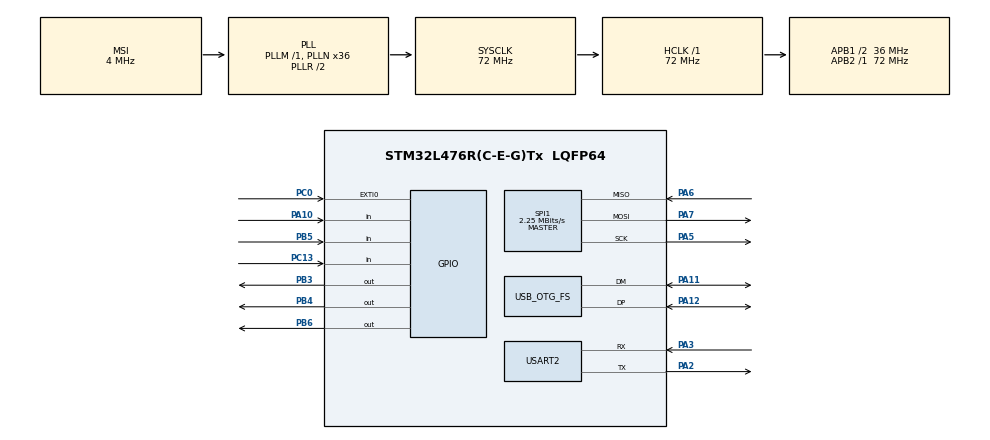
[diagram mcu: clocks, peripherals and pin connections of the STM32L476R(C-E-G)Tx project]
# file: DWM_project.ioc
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Mcu.Family=STM32L4
Mcu.Name=STM32L476R(C-E-G)Tx
Mcu.Package=LQFP64
NVIC.EXTI0_IRQn=true\:0\:0\:false
NVIC.PriorityGroup=NVIC_PRIORITYGROUP_4
PA10.Signal=GPIO_Input
PA11.Mode=Device_Only
PA11.Signal=USB_OTG_FS_DM
PA12.Mode=Device_Only
PA12.Signal=USB_OTG_FS_DP
PA2.Mode=Asynchronous
PA2.Signal=USART2_TX
PA3.Mode=Asynchronous
PA3.Signal=USART2_RX
PA5.Mode=Full_Duplex_Master
PA5.Signal=SPI1_SCK
PA6.GPIO_PuPd=GPIO_PULLUP
PA6.Mode=Full_Duplex_Master
PA6.Signal=SPI1_MISO
PA7.Mode=Full_Duplex_Master
PA7.Signal=SPI1_MOSI
PB3.Signal=GPIO_Output
PB4.Signal=GPIO_Output
PB5.Signal=GPIO_Input
PB6.GPIO_PuPd=GPIO_PULLUP
PB6.GPIO_Speed=GPIO_SPEED_HIGH
PB6.PinState=GPIO_PIN_SET
PB6.Signal=GPIO_Output
PC0.GPIO_PuPd=GPIO_PULLDOWN
PC0.Signal=GPXTI0
PC13.Signal=GPIO_Input
ProjectManager.HeapSize=0x400
ProjectManager.StackSize=0x200
ProjectManager.TargetToolchain=MDK-ARM V5
RCC.ADCFreq_Value=48000000
RCC.AHBFreq_Value=72000000
RCC.APB1CLKDivider=RCC_HCLK_DIV2
RCC.APB1Freq_Value=36000000
RCC.APB1TimFreq_Value=72000000
RCC.APB2Freq_Value=72000000
RCC.APB2TimFreq_Value=72000000
RCC.CortexFreq_Value=72000000
RCC.HCLKFreq_Value=72000000
RCC.HSE_VALUE=8000000
RCC.HSI_VALUE=16000000
RCC.LSE_VALUE=32768
RCC.MSI_VALUE=4000000
RCC.PLLN=36
RCC.PLLSAI1N=24
RCC.SYSCLKFreq_VALUE=72000000
RCC.SYSCLKSource=RCC_SYSCLKSOURCE_PLLCLK
RCC.USBFreq_Value=48000000
RCC.VCOOutputFreq_Value=144000000
SPI1.BaudRatePrescaler=SPI_BAUDRATEPRESCALER_32
SPI1.CLKPhase=SPI_PHASE_1EDGE
SPI1.CLKPolarity=SPI_POLARITY_LOW
SPI1.CRCCalculation=SPI_CRCCALCULATION_DISABLED
SPI1.CalculateBaudRate=2.25 MBits/s
SPI1.DataSize=SPI_DATASIZE_8BIT
SPI1.FirstBit=SPI_FIRSTBIT_MSB
SPI1.Mode=SPI_MODE_MASTER
SPI1.NSSPMode=SPI_NSS_PULSE_DISABLED
USART2.WordLength=UART_WORDLENGTH_8B
USB_OTG_FS.VirtualMode=Device_Only
board=DWM_project

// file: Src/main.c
/**
  ******************************************************************************
  * File Name          : main.c
  * Description        : Main program body
  ******************************************************************************
  *
  * COPYRIGHT(c) 2016 STMicroelectronics
  *
  * Redistribution and use in source and binary forms, with or without modification,
  * are permitted provided that the following conditions are met:
  *   1. Redistributions of source code must retain the above copyright notice,
  *      this list of conditions and the following disclaimer.
  *   2. Redistributions in binary form must reproduce the above copyright notice,
  *      this list of conditions and the following disclaimer in the documentation
  *      and/or other materials provided with the distribution.
  *   3. Neither the name of STMicroelectronics nor the names of its contributors
  *      may be used to endorse or promote products derived from this software
  *      without specific prior written permission.
  *
  * THIS SOFTWARE IS PROVIDED BY THE COPYRIGHT HOLDERS AND CONTRIBUTORS "AS IS"
  * AND ANY EXPRESS OR IMPLIED WARRANTIES, INCLUDING, BUT NOT LIMITED TO, THE
  * IMPLIED WARRANTIES OF MERCHANTABILITY AND FITNESS FOR A PARTICULAR PURPOSE ARE
  * DISCLAIMED. IN NO EVENT SHALL THE COPYRIGHT HOLDER OR CONTRIBUTORS BE LIABLE
  * FOR ANY DIRECT, INDIRECT, INCIDENTAL, SPECIAL, EXEMPLARY, OR CONSEQUENTIAL
  * DAMAGES (INCLUDING, BUT NOT LIMITED TO, PROCUREMENT OF SUBSTITUTE GOODS OR
  * SERVICES; LOSS OF USE, DATA, OR PROFITS; OR BUSINESS INTERRUPTION) HOWEVER
  * CAUSED AND ON ANY THEORY OF LIABILITY, WHETHER IN CONTRACT, STRICT LIABILITY,
  * OR TORT (INCLUDING NEGLIGENCE OR OTHERWISE) ARISING IN ANY WAY OUT OF THE USE
  * OF THIS SOFTWARE, EVEN IF ADVISED OF THE POSSIBILITY OF SUCH DAMAGE.
  *
  ******************************************************************************
  */
#include "stm32l4xx_hal.h"

/* USER CODE BEGIN Includes */
#include "deca_device_api.h"
#include "deca_regs.h"
#include "deca_com.h"
#include "usart_com.h"
#include "deca_spi.h"

#include <stdio.h>
#include <string.h>

/* USER CODE END Includes */

SPI_HandleTypeDef hspi1;

UART_HandleTypeDef huart2;

PCD_HandleTypeDef hpcd_USB_OTG_FS;

/* USER CODE BEGIN PV */
/* Private variables ---------------------------------------------------------*/

/* USER CODE END PV */

void SystemClock_Config(void);
static void MX_GPIO_Init(void);
static void MX_SPI1_Init(void);
static void MX_USART2_UART_Init(void);
static void MX_USB_OTG_FS_PCD_Init(void);

/* USER CODE BEGIN PFP */
/* Private function prototypes -----------------------------------------------*/

/* USER CODE END PFP */

/* USER CODE BEGIN 0 */

/* Inter-ranging delay period, in milliseconds. */
#define RNG_DELAY_MS 200

/* Default communication configuration. We use here EVK1000's default mode (mode 3). */
static dwt_config_t config =
	{ // working configuration
    2,               /* Channel number. */
    DWT_PRF_64M,     /* Pulse repetition frequency. */
    DWT_PLEN_1024,   /* Preamble length. Used in TX only. */
    DWT_PAC32,       /* Preamble acquisition chunk size. Used in RX only. */
    9,               /* TX preamble code. Used in TX only. */
    9,               /* RX preamble code. Used in RX only. */
    1,               /* 0 to use standard SFD, 1 to use non-standard SFD. */
    DWT_BR_110K,     /* Data rate. */
    DWT_PHRMODE_STD, /* PHY header mode. */
    (1025 + 64 - 32) /* SFD timeout (preamble length + 1 + SFD length - PAC size). Used in RX only. */
	};

/* Default antenna delay values for 64 MHz PRF. See NOTE 2 below. */
#define TX_ANT_DLY 16436
#define RX_ANT_DLY 16436

/* Frames used in the ranging process */
static uint8 tx_poll_msg[] = {0x41, 0x88, 0, 0xCA, 0xDE, 'W', 'A', 'V', 'E', 0x21, 0, 0};
static uint8 rx_resp_msg[] = {0x41, 0x88, 0, 0xCA, 0xDE, 'V', 'E', 'W', 'A', 0x10, 0x02, 0, 0, 0, 0};
static uint8 tx_final_msg[] = {0x41, 0x88, 0, 0xCA, 0xDE, 'W', 'A', 'V', 'E', 0x23, 0, 0, 0, 0, 0, 0, 0, 0, 0, 0, 0, 0, 0, 0};
static uint8 rx_final2_msg[] = {0x41, 0x88, 0, 0xCA, 0xDE, 'W', 'A', 'V', 'E', 0x23, 0, 0, 0, 0, 0, 0, 0, 0, 0, 0, 0, 0, 0, 0};

/* Frames used in the ranging process */
static uint8 rx_poll_msg[] = {0x41, 0x88, 0, 0xCA, 0xDE, 'W', 'A', 'V', 'E', 0x21, 0, 0};
static uint8 tx_resp_msg[] = {0x41, 0x88, 0, 0xCA, 0xDE, 'V', 'E', 'W', 'A', 0x10, 0x02, 0, 0, 0, 0};
static uint8 rx_final_msg[] = {0x41, 0x88, 0, 0xCA, 0xDE, 'W', 'A', 'V', 'E', 0x23, 0, 0, 0, 0, 0, 0, 0, 0, 0, 0, 0, 0, 0, 0};
static uint8 tx_final2_msg[] = {0x41, 0x88, 0, 0xCA, 0xDE, 'W', 'A', 'V', 'E', 0x23, 0, 0, 0, 0, 0, 0, 0, 0, 0, 0, 0, 0, 0, 0};

/* Length of the common part of the message (up to and including the function code, see NOTE 2 below). */
#define ALL_MSG_COMMON_LEN 10
/* Indexes to access some of the fields in the frames defined above. */
#define ALL_MSG_SN_IDX 2
#define FINAL_MSG_POLL_RX_TS_IDX 10
#define FINAL_MSG_RESP_TX_TS_IDX 14
#define FINAL_MSG_FINAL_RX_TS_IDX 18
#define FINAL_MSG_TS_LEN 4

/* Frame sequence number, incremented after each transmission. */
static uint8 c_FrameSeqNb = 0;

	/* DW module mode*/
uint32_t w_dwtMode = DECA_MODE_TAG;

	/* Buffer to store received response message.
 * Its size is adjusted to longest frame that this example code is supposed to handle. */

#if (w_dwtMode == DECA_MODE_ANCHOR)
	#define RX_BUF_LEN 20
#else
	#define RX_BUF_LEN 24
#endif

static uint8 rx_buffer[RX_BUF_LEN];

/* Hold copy of status register state here for reference so that it can be examined at a debug breakpoint. */
static uint32 status_reg = 0;

/* Preamble timeout, in multiple of PAC size. See NOTE 6 below. */
#define PRE_TIMEOUT 8

/* Timestamps of frames transmission/reception.
 * As they are 40-bit wide, we need to define a 64-bit int type to handle them. */
typedef signed long long int64;
typedef unsigned long long uint64;
static uint32 poll_rx_ts;
static uint32 resp_tx_ts;
static uint32 final_rx_ts;

/* Speed of light in air, in metres per second. */
#define SPEED_OF_LIGHT 299702547

/* Hold copies of computed time of flight and distance here for reference so that it can be examined at a debug breakpoint. */
static double tof;
static double toc;
static double distance;

/* String used to display measured distance */
char dist_str[35] = {0};

/* Timestamps of frames transmission/reception.
 * As they are 40-bit wide, we need to define a 64-bit int type to handle them. */
typedef unsigned long long uint64;
static uint64 poll_tx_ts;
static uint64 resp_rx_ts;
static uint64 final_tx_ts;

/* Declaration of static functions. */
static uint64 get_tx_timestamp_u64(void);
static uint64 get_rx_timestamp_u64(void);
static void final_msg_set_ts_anchor(uint8 *ts_field, uint64 ts);
static void final_msg_get_ts_tag(const uint8 *ts_field, uint32 *ts);

/* USER CODE END 0 */

int main(void)
{

  /* MCU Configuration----------------------------------------------------------*/

  /* Reset of all peripherals, Initializes the Flash interface and the Systick. */
  HAL_Init();

  /* Configure the system clock */
  SystemClock_Config();

  /* Initialize all configured peripherals */
  MX_GPIO_Init();
  MX_SPI1_Init();
  MX_USART2_UART_Init();
  MX_USB_OTG_FS_PCD_Init();

  /* USER CODE BEGIN 2 */
	wakeup_DW1000();
	USART_puts("DWT wakeup\n");

	reset_DW1000();
	USART_puts("DWT reset\n");
	HAL_Delay(5);

	/* Initialize DWT*/
	set_spi_speed_low(); // set SPI to low speed (2.5MHz) for initialization
	if (dwt_initialise(DWT_LOADUCODE) == DWT_SUCCESS){
		USART_puts("Initialization OK\n");
	}
	else
	{
		USART_puts("Initialization FAILED\n");
		while(1){};
	}
	set_spi_speed_high(); // set SPI to high speed (20MHz)

	HAL_Delay(5);

	/* Configure DW1000. */
	dwt_configure(&config);
	USART_puts("DW configured\n");
	HAL_Delay(5);

	/* Apply default antenna delay value. See NOTE 1 below. */
	dwt_setrxantennadelay(RX_ANT_DLY);
	dwt_settxantennadelay(TX_ANT_DLY);

	// Check SPI communication by reading ID
	while(dwt_readdevid() != DWT_DEVICE_ID){
		USART_puts("ID NOT read successfully\n");
		while(1){};
	}
	USART_puts("ID read successfully\n");

	if (w_dwtMode == DECA_MODE_ANCHOR){
		USART_puts("Selected mode is ANCHOR - INITIATOR\n");
	}
	else {
		USART_puts("Selected mode is TAG - RESPONDER\n");
	}

  /* USER CODE END 2 */

  /* Infinite loop */
  while (1)
  {

  /* USER CODE BEGIN 3 */
		if (w_dwtMode == DECA_MODE_ANCHOR){ // Initiator

			/* Write frame data to DW1000 and prepare transmission. See NOTE 8 below. */
			tx_poll_msg[ALL_MSG_SN_IDX] = c_FrameSeqNb;
			dwt_writetxdata(sizeof(tx_poll_msg), tx_poll_msg, 0); /* Zero offset in TX buffer. */
			dwt_writetxfctrl(sizeof(tx_poll_msg), 0, 1); /* Zero offset in TX buffer, ranging. */

			/* Start transmission, indicating that a response is expected so that reception is enabled automatically after the frame is sent and the delay
			 * set by dwt_setrxaftertxdelay() has elapsed. */
			dwt_starttx(DWT_START_TX_IMMEDIATE | DWT_RESPONSE_EXPECTED);
			//USART_puts("Sending first init message\n");

			/* We assume that the transmission is achieved correctly, poll for reception of a frame or error/timeout. See NOTE 9 below. */
			while (!((status_reg = dwt_read32bitreg(SYS_STATUS_ID)) & (SYS_STATUS_RXFCG | SYS_STATUS_ALL_RX_TO | SYS_STATUS_ALL_RX_ERR)))
			{ };

			/* Increment frame sequence number after transmission of the poll message (modulo 256). */
      c_FrameSeqNb++;

			if (status_reg & SYS_STATUS_RXFCG) {
				uint32 frame_len;

				/* Clear good RX frame event in the DW1000 status register. */
				dwt_write32bitreg(SYS_STATUS_ID, SYS_STATUS_RXFCG | SYS_STATUS_TXFRS);

				/* A frame has been received, read it into the local buffer. */
				frame_len = dwt_read32bitreg(RX_FINFO_ID) & RX_FINFO_RXFLEN_MASK;
				if (frame_len <= RX_BUF_LEN)
				{
					dwt_readrxdata(rx_buffer, frame_len, 0);
					//USART_puts("Response received\n");
				}

				/* Check that the frame is the expected response from the companion "DS TWR responder" example.
				 * As the sequence number field of the frame is not relevant, it is cleared to simplify the validation of the frame. */
				rx_buffer[ALL_MSG_SN_IDX] = 0;

				if (memcmp(rx_buffer, rx_resp_msg, ALL_MSG_COMMON_LEN) == 0) {
					//USART_puts("Response is correct\n");
					uint32 final_tx_time;
					int ret;

					/* Retrieve poll transmission and response reception timestamp. */
					uint32 poll_tx_ts, resp_rx_ts;
					poll_tx_ts = get_tx_timestamp_u64();
					resp_rx_ts = get_rx_timestamp_u64();

					/* Write and send final(1) message. See NOTE 8 below. */
					tx_final_msg[ALL_MSG_SN_IDX] = c_FrameSeqNb;
					dwt_writetxdata(sizeof(tx_final_msg), tx_final_msg, 0); /* Zero offset in TX buffer. */
					dwt_writetxfctrl(sizeof(tx_final_msg), 0, 1); /* Zero offset in TX buffer, ranging. */

					ret = dwt_starttx(DWT_START_RX_IMMEDIATE | DWT_RESPONSE_EXPECTED);

					/* If dwt_starttx() returns an error, abandon this ranging exchange and proceed to the next one. See NOTE 12 below. */
					if (ret == DWT_SUCCESS)
					{

						/* Poll DW1000 until TX frame sent event set. See NOTE 9 below. */
						while (!(dwt_read32bitreg(SYS_STATUS_ID) & SYS_STATUS_TXFRS))
						{ };

						//USART_puts("Final(1) message sent\n");

						/* Clear TXFRS event. */
						dwt_write32bitreg(SYS_STATUS_ID, SYS_STATUS_TXFRS);

						/* Increment frame sequence number after transmission of the final message (modulo 256). */
						c_FrameSeqNb++;

						/* Activate reception immediately. */
						//dwt_rxenable(DWT_START_RX_IMMEDIATE | DWT_RESPONSE_EXPECTED);

						/* Poll for reception of expected "final(2)" frame or error/timeout. See NOTE 8 below. */
						while (!((status_reg = dwt_read32bitreg(SYS_STATUS_ID)) & (SYS_STATUS_RXFCG | SYS_STATUS_ALL_RX_TO | SYS_STATUS_ALL_RX_ERR)))
						{ };

						if (status_reg & SYS_STATUS_RXFCG) {
							uint32 frame_len;

							/* Clear good RX frame event in the DW1000 status register. */
							dwt_write32bitreg(SYS_STATUS_ID, SYS_STATUS_RXFCG | SYS_STATUS_TXFRS);

							/* A frame has been received, read it into the local buffer. */
							frame_len = dwt_read32bitreg(RX_FINFO_ID) & RX_FINFO_RXFLEN_MASK;
							if (frame_len <= RX_BUF_LEN)
							{
								dwt_readrxdata(rx_buffer, frame_len, 0);
								//USART_puts("Final(2) message received\n");
							}

							/* Check that the frame is the expected response from the companion "DS TWR responder" example.
							 * As the sequence number field of the frame is not relevant, it is cleared to simplify the validation of the frame. */
							rx_buffer[ALL_MSG_SN_IDX] = 0;

							if (memcmp(rx_buffer, rx_final2_msg, ALL_MSG_COMMON_LEN) == 0) {
								//USART_puts("Final(2) is correct\n");

								uint32 final_tx_ts;
								uint32 final2_rx_ts;
								uint32 poll_rx_ts_32, resp_tx_ts_32, final_rx_ts_32;
								double Ra, Rb, Da, Db;
								int64 tof_dtu;

								/* Retrieve response transmission and final reception timestamps. */
								final_tx_ts = get_tx_timestamp_u64();
								final2_rx_ts = get_rx_timestamp_u64();

								/* Get timestamps embedded in the final message. */
								final_msg_get_ts_tag(&rx_buffer[FINAL_MSG_POLL_RX_TS_IDX], &poll_rx_ts);
								final_msg_get_ts_tag(&rx_buffer[FINAL_MSG_RESP_TX_TS_IDX], &resp_tx_ts);
								final_msg_get_ts_tag(&rx_buffer[FINAL_MSG_FINAL_RX_TS_IDX], &final_rx_ts);

								/* Compute time of flight. 32-bit subtractions give correct answers even if clock has wrapped. See NOTE 12 below. */
								poll_rx_ts_32 = (uint32)poll_rx_ts;
								resp_tx_ts_32 = (uint32)resp_tx_ts;
								final_rx_ts_32 = (uint32)final_rx_ts;
								Ra = (double)(resp_rx_ts - poll_tx_ts);
								Rb = (double)(final_rx_ts_32 - resp_tx_ts_32);
								Da = (double)(final_tx_ts - resp_rx_ts);
								Db = (double)(resp_tx_ts_32 - poll_rx_ts_32);
								tof_dtu = (int64)((Ra * Rb - Da * Db) / (Ra + Rb + Da + Db));

								tof = tof_dtu * DWT_TIME_UNITS;
								distance = tof * SPEED_OF_LIGHT;

								// compute time of communication exchange
								toc = (double)(final2_rx_ts - poll_tx_ts) * DWT_TIME_UNITS;

								/* Display computed distance on LCD. */
								sprintf(dist_str, "DIST: %3.2f m, TOC: %3.6f s\n", distance, toc);
								USART_puts(dist_str);

							}

					}
					else {
						/* Clear RX error/timeout events in the DW1000 status register. */
						dwt_write32bitreg(SYS_STATUS_ID, SYS_STATUS_ALL_RX_TO | SYS_STATUS_ALL_RX_ERR);

						/* Reset RX to properly reinitialise LDE operation. */
						dwt_rxreset();

					}
				}
			}
		}
			else {
				/* Clear RX error/timeout events in the DW1000 status register. */
				dwt_write32bitreg(SYS_STATUS_ID, SYS_STATUS_ALL_RX_TO | SYS_STATUS_ALL_RX_ERR);

				/* Reset RX to properly reinitialise LDE operation. */
				dwt_rxreset();

			}

			/* Execute a delay between ranging exchanges. */
			HAL_Delay(RNG_DELAY_MS);
		}

		else if (w_dwtMode == DECA_MODE_TAG){ // Responder

			/* Clear reception timeout to start next ranging process. */
			dwt_setrxtimeout(0);

			/* Activate reception immediately. */
			dwt_rxenable(DWT_START_RX_IMMEDIATE | DWT_RESPONSE_EXPECTED);

			/* Poll for reception of a frame or error/timeout. See NOTE 8 below. */
			while (!((status_reg = dwt_read32bitreg(SYS_STATUS_ID)) & (SYS_STATUS_RXFCG | SYS_STATUS_ALL_RX_TO | SYS_STATUS_ALL_RX_ERR)))
			{ };

		  if (status_reg & SYS_STATUS_RXFCG){

				uint32 frame_len;

				/* Clear good RX frame event in the DW1000 status register. */
				dwt_write32bitreg(SYS_STATUS_ID, SYS_STATUS_RXFCG);

				/* A frame has been received, read it into the local buffer. */
				frame_len = dwt_read32bitreg(RX_FINFO_ID) & RX_FINFO_RXFL_MASK_1023;
				if (frame_len <= RX_BUFFER_LEN)
				{
					dwt_readrxdata(rx_buffer, frame_len, 0);
					//USART_puts("Poll received\n");
				}

				/* Check that the frame is a poll sent by "SS TWR initiator" example.
				 * As the sequence number field of the frame is not relevant, it is cleared to simplify the validation of the frame. */
				rx_buffer[ALL_MSG_SN_IDX] = 0;

				if (memcmp(rx_buffer, rx_poll_msg, ALL_MSG_COMMON_LEN) == 0){
					//USART_puts("Poll was sent from initiator\n");

					uint32 resp_tx_time;
					int ret;

					/* Retrieve poll reception timestamp. */
					poll_rx_ts = get_rx_timestamp_u64();

				  /* Write and send the response message. See NOTE 10 below.*/
					tx_resp_msg[ALL_MSG_SN_IDX] = c_FrameSeqNb;
					dwt_writetxdata(sizeof(tx_resp_msg), tx_resp_msg, 0); /* Zero offset in TX buffer. */
					dwt_writetxfctrl(sizeof(tx_resp_msg), 0, 1); /* Zero offset in TX buffer, ranging. */
					//ret = dwt_starttx(DWT_START_TX_DELAYED | DWT_RESPONSE_EXPECTED);
					ret = dwt_starttx(DWT_START_RX_IMMEDIATE | DWT_RESPONSE_EXPECTED);

					/* If dwt_starttx() returns an error, abandon this ranging exchange and proceed to the next one. See NOTE 11 below. */
					if (ret == DWT_ERROR)
					{
							continue;
					}

					//USART_puts("Response sent\n");

					/* Poll for reception of expected "final" frame or error/timeout. See NOTE 8 below. */
					while (!((status_reg = dwt_read32bitreg(SYS_STATUS_ID)) & (SYS_STATUS_RXFCG | SYS_STATUS_ALL_RX_TO | SYS_STATUS_ALL_RX_ERR)))
					{ };

					/* Increment frame sequence number after transmission of the response message (modulo 256). */
					c_FrameSeqNb++;

					if (status_reg & SYS_STATUS_RXFCG){
						/* Clear good RX frame event and TX frame sent in the DW1000 status register. */
						dwt_write32bitreg(SYS_STATUS_ID, SYS_STATUS_RXFCG | SYS_STATUS_TXFRS);

						/* A frame has been received, read it into the local buffer. */
						//USART_puts("Final(1) message received\n");

						frame_len = dwt_read32bitreg(RX_FINFO_ID) & RX_FINFO_RXFLEN_MASK;
						if (frame_len <= RX_BUF_LEN)
						{
								dwt_readrxdata(rx_buffer, frame_len, 0);
						}

						/* Check that the frame is a final(1) message sent by "DS TWR initiator" example.
						 * As the sequence number field of the frame is not used in this example, it can be zeroed to ease the validation of the frame. */
						rx_buffer[ALL_MSG_SN_IDX] = 0;
						if (memcmp(rx_buffer, rx_final_msg, ALL_MSG_COMMON_LEN) == 0)
						{
							//USART_puts("Final(1) message is from initiator\n");

							resp_tx_ts = get_tx_timestamp_u64();
							final_rx_ts = get_rx_timestamp_u64();

							// send final(2) message including Tr, Rf times
							final_msg_set_ts_anchor(&tx_final2_msg[FINAL_MSG_POLL_RX_TS_IDX], poll_rx_ts);
							final_msg_set_ts_anchor(&tx_final2_msg[FINAL_MSG_RESP_TX_TS_IDX], resp_tx_ts);
							final_msg_set_ts_anchor(&tx_final2_msg[FINAL_MSG_FINAL_RX_TS_IDX], final_rx_ts);

							dwt_writetxdata(sizeof(tx_final2_msg), tx_final2_msg, 0); /* Zero offset in TX buffer. */
							dwt_writetxfctrl(sizeof(tx_final2_msg), 0, 1); /* Zero offset in TX buffer, ranging. */
							ret = dwt_starttx(DWT_START_RX_IMMEDIATE);

							/* If dwt_starttx() returns an error, abandon this ranging exchange and proceed to the next one. See NOTE 11 below. */
							if (ret == DWT_ERROR)
							{
									continue;
							}

							//USART_puts("Final(2) message sent\n");

						}
					}
					else
					{
							/* Clear RX error/timeout events in the DW1000 status register. */
							dwt_write32bitreg(SYS_STATUS_ID, SYS_STATUS_ALL_RX_TO | SYS_STATUS_ALL_RX_ERR);

							/* Reset RX to properly reinitialise LDE operation. */
							dwt_rxreset();
					}

				}

			}
			else
			{
					/* Clear RX error/timeout events in the DW1000 status register. */
					dwt_write32bitreg(SYS_STATUS_ID, SYS_STATUS_ALL_RX_TO | SYS_STATUS_ALL_RX_ERR);

					/* Reset RX to properly reinitialise LDE operation. */
					dwt_rxreset();
			}

		} // end responder

	} /* end while*/

  /* USER CODE END 3 */

}

/** System Clock Configuration
*/
void SystemClock_Config(void)
{

  RCC_OscInitTypeDef RCC_OscInitStruct;
  RCC_ClkInitTypeDef RCC_ClkInitStruct;
  RCC_PeriphCLKInitTypeDef PeriphClkInit;

  RCC_OscInitStruct.OscillatorType = RCC_OSCILLATORTYPE_LSE|RCC_OSCILLATORTYPE_MSI;
  RCC_OscInitStruct.LSEState = RCC_LSE_OFF;
  RCC_OscInitStruct.MSIState = RCC_MSI_ON;
  RCC_OscInitStruct.MSICalibrationValue = 0;
  RCC_OscInitStruct.MSIClockRange = RCC_MSIRANGE_6;
  RCC_OscInitStruct.PLL.PLLState = RCC_PLL_ON;
  RCC_OscInitStruct.PLL.PLLSource = RCC_PLLSOURCE_MSI;
  RCC_OscInitStruct.PLL.PLLM = 1;
  RCC_OscInitStruct.PLL.PLLN = 36;
  RCC_OscInitStruct.PLL.PLLP = RCC_PLLP_DIV7;
  RCC_OscInitStruct.PLL.PLLQ = RCC_PLLQ_DIV2;
  RCC_OscInitStruct.PLL.PLLR = RCC_PLLR_DIV2;
  HAL_RCC_OscConfig(&RCC_OscInitStruct);

  RCC_ClkInitStruct.ClockType = RCC_CLOCKTYPE_HCLK|RCC_CLOCKTYPE_SYSCLK
                              |RCC_CLOCKTYPE_PCLK1|RCC_CLOCKTYPE_PCLK2;
  RCC_ClkInitStruct.SYSCLKSource = RCC_SYSCLKSOURCE_PLLCLK;
  RCC_ClkInitStruct.AHBCLKDivider = RCC_SYSCLK_DIV1;
  RCC_ClkInitStruct.APB1CLKDivider = RCC_HCLK_DIV2;
  RCC_ClkInitStruct.APB2CLKDivider = RCC_HCLK_DIV1;
  HAL_RCC_ClockConfig(&RCC_ClkInitStruct, FLASH_LATENCY_4);

  PeriphClkInit.PeriphClockSelection = RCC_PERIPHCLK_USART2|RCC_PERIPHCLK_USB;
  PeriphClkInit.Usart2ClockSelection = RCC_USART2CLKSOURCE_PCLK1;
  PeriphClkInit.UsbClockSelection = RCC_USBCLKSOURCE_PLLSAI1;
  PeriphClkInit.PLLSAI1.PLLSAI1N = 24;
  PeriphClkInit.PLLSAI1.PLLSAI1P = RCC_PLLP_DIV7;
  PeriphClkInit.PLLSAI1.PLLSAI1Q = RCC_PLLQ_DIV2;
  PeriphClkInit.PLLSAI1.PLLSAI1R = RCC_PLLR_DIV2;
  PeriphClkInit.PLLSAI1.PLLSAI1ClockOut = RCC_PLLSAI1_48M2CLK;
  HAL_RCCEx_PeriphCLKConfig(&PeriphClkInit);

  __PWR_CLK_ENABLE();

  HAL_PWREx_ControlVoltageScaling(PWR_REGULATOR_VOLTAGE_SCALE1);

  HAL_SYSTICK_Config(HAL_RCC_GetHCLKFreq()/1000);

  HAL_SYSTICK_CLKSourceConfig(SYSTICK_CLKSOURCE_HCLK);

  HAL_RCCEx_EnableMSIPLLMode();

  /* SysTick_IRQn interrupt configuration */
  HAL_NVIC_SetPriority(SysTick_IRQn, 0, 0);
}

/* SPI1 init function */
void MX_SPI1_Init(void)
{

  hspi1.Instance = SPI1;
  hspi1.Init.Mode = SPI_MODE_MASTER;
  hspi1.Init.Direction = SPI_DIRECTION_2LINES;
  hspi1.Init.DataSize = SPI_DATASIZE_8BIT;
  hspi1.Init.CLKPolarity = SPI_POLARITY_LOW;
  hspi1.Init.CLKPhase = SPI_PHASE_1EDGE;
  hspi1.Init.NSS = SPI_NSS_SOFT;
  hspi1.Init.BaudRatePrescaler = SPI_BAUDRATEPRESCALER_32;
  hspi1.Init.FirstBit = SPI_FIRSTBIT_MSB;
  hspi1.Init.TIMode = SPI_TIMODE_DISABLED;
  hspi1.Init.CRCCalculation = SPI_CRCCALCULATION_DISABLED;
  hspi1.Init.CRCPolynomial = 7;
  hspi1.Init.CRCLength = SPI_CRC_LENGTH_DATASIZE;
  hspi1.Init.NSSPMode = SPI_NSS_PULSE_DISABLED;
  HAL_SPI_Init(&hspi1);

}

/* USART2 init function */
void MX_USART2_UART_Init(void)
{

  huart2.Instance = USART2;
  huart2.Init.BaudRate = 115200;
  huart2.Init.WordLength = UART_WORDLENGTH_8B;
  huart2.Init.StopBits = UART_STOPBITS_1;
  huart2.Init.Parity = UART_PARITY_NONE;
  huart2.Init.Mode = UART_MODE_TX_RX;
  huart2.Init.HwFlowCtl = UART_HWCONTROL_NONE;
  huart2.Init.OverSampling = UART_OVERSAMPLING_16;
  huart2.Init.OneBitSampling = UART_ONEBIT_SAMPLING_DISABLED;
  huart2.AdvancedInit.AdvFeatureInit = UART_ADVFEATURE_NO_INIT;
  HAL_UART_Init(&huart2);

}

/* USB_OTG_FS init function */
void MX_USB_OTG_FS_PCD_Init(void)
{

  hpcd_USB_OTG_FS.Instance = USB_OTG_FS;
  hpcd_USB_OTG_FS.Init.dev_endpoints = 7;
  hpcd_USB_OTG_FS.Init.speed = PCD_SPEED_FULL;
  hpcd_USB_OTG_FS.Init.ep0_mps = DEP0CTL_MPS_64;
  hpcd_USB_OTG_FS.Init.phy_itface = PCD_PHY_EMBEDDED;
  hpcd_USB_OTG_FS.Init.Sof_enable = DISABLE;
  hpcd_USB_OTG_FS.Init.low_power_enable = DISABLE;
  hpcd_USB_OTG_FS.Init.lpm_enable = DISABLE;
  hpcd_USB_OTG_FS.Init.battery_charging_enable = DISABLE;
  hpcd_USB_OTG_FS.Init.vbus_sensing_enable = ENABLE;
  HAL_PCD_Init(&hpcd_USB_OTG_FS);

}

/** Configure pins as
        * Analog
        * Input
        * Output
        * EVENT_OUT
        * EXTI
*/
void MX_GPIO_Init(void)
{

  GPIO_InitTypeDef GPIO_InitStruct;

  /* GPIO Ports Clock Enable */
  __GPIOC_CLK_ENABLE();
  __GPIOA_CLK_ENABLE();
  __GPIOB_CLK_ENABLE();

  /*Configure GPIO pin : PC13 */
  GPIO_InitStruct.Pin = GPIO_PIN_13;
  GPIO_InitStruct.Mode = GPIO_MODE_INPUT;
  GPIO_InitStruct.Pull = GPIO_NOPULL;
  HAL_GPIO_Init(GPIOC, &GPIO_InitStruct);

  /*Configure GPIO pin : PC0 */
  GPIO_InitStruct.Pin = GPIO_PIN_0;
  GPIO_InitStruct.Mode = GPIO_MODE_IT_RISING;
  GPIO_InitStruct.Pull = GPIO_PULLDOWN;
  HAL_GPIO_Init(GPIOC, &GPIO_InitStruct);

  /*Configure GPIO pin : PA10 */
  GPIO_InitStruct.Pin = GPIO_PIN_10;
  GPIO_InitStruct.Mode = GPIO_MODE_INPUT;
  GPIO_InitStruct.Pull = GPIO_NOPULL;
  HAL_GPIO_Init(GPIOA, &GPIO_InitStruct);

  /*Configure GPIO pins : PB3 PB4 */
  GPIO_InitStruct.Pin = GPIO_PIN_3|GPIO_PIN_4;
  GPIO_InitStruct.Mode = GPIO_MODE_OUTPUT_PP;
  GPIO_InitStruct.Pull = GPIO_NOPULL;
  GPIO_InitStruct.Speed = GPIO_SPEED_LOW;
  HAL_GPIO_Init(GPIOB, &GPIO_InitStruct);

  /*Configure GPIO pin : PB5 */
  GPIO_InitStruct.Pin = GPIO_PIN_5;
  GPIO_InitStruct.Mode = GPIO_MODE_INPUT;
  GPIO_InitStruct.Pull = GPIO_NOPULL;
  HAL_GPIO_Init(GPIOB, &GPIO_InitStruct);

  /*Configure GPIO pin : PB6 */
  GPIO_InitStruct.Pin = GPIO_PIN_6;
  GPIO_InitStruct.Mode = GPIO_MODE_OUTPUT_PP;
  GPIO_InitStruct.Pull = GPIO_PULLUP;
  GPIO_InitStruct.Speed = GPIO_SPEED_HIGH;
  HAL_GPIO_Init(GPIOB, &GPIO_InitStruct);

  /*Configure GPIO pin Output Level */
  HAL_GPIO_WritePin(GPIOB, GPIO_PIN_3|GPIO_PIN_4, GPIO_PIN_RESET);

  /*Configure GPIO pin Output Level */
  HAL_GPIO_WritePin(GPIOB, GPIO_PIN_6, GPIO_PIN_SET);

  /* EXTI interrupt init*/
  HAL_NVIC_SetPriority(EXTI0_IRQn, 0, 0);
  HAL_NVIC_EnableIRQ(EXTI0_IRQn);

}

/* USER CODE BEGIN 4 */
/*! ------------------------------------------------------------------------------------------------------------------
 * @fn get_tx_timestamp_u64()
 *
 * @brief Get the TX time-stamp in a 64-bit variable.
 *        /!\ This function assumes that length of time-stamps is 40 bits, for both TX and RX!
 *
 * @param  none
 *
 * @return  64-bit value of the read time-stamp.
 */
static uint64 get_tx_timestamp_u64(void)
{
    uint8 ts_tab[5];
    uint64 ts = 0;
    int i;
    dwt_readtxtimestamp(ts_tab);
    for (i = 4; i >= 0; i--)
    {
        ts <<= 8;
        ts |= ts_tab[i];
    }
    return ts;
}

/*! ------------------------------------------------------------------------------------------------------------------
 * @fn get_rx_timestamp_u64()
 *
 * @brief Get the RX time-stamp in a 64-bit variable.
 *        /!\ This function assumes that length of time-stamps is 40 bits, for both TX and RX!
 *
 * @param  none
 *
 * @return  64-bit value of the read time-stamp.
 */
static uint64 get_rx_timestamp_u64(void)
{
    uint8 ts_tab[5];
    uint64 ts = 0;
    int i;
    dwt_readrxtimestamp(ts_tab);
    for (i = 4; i >= 0; i--)
    {
        ts <<= 8;
        ts |= ts_tab[i];
    }
    return ts;
}

/*! ------------------------------------------------------------------------------------------------------------------
 * @fn final_msg_set_ts()
 *
 * @brief Fill a given timestamp field in the final message with the given value. In the timestamp fields of the final
 *        message, the least significant byte is at the lower address.
 *
 * @param  ts_field  pointer on the first byte of the timestamp field to fill
 *         ts  timestamp value
 *
 * @return none
 */
static void final_msg_set_ts_anchor(uint8 *ts_field, uint64 ts)
{
    int i;
    for (i = 0; i < FINAL_MSG_TS_LEN; i++)
    {
        ts_field[i] = (uint8) ts;
        ts >>= 8;
    }
}

/*! ------------------------------------------------------------------------------------------------------------------
 * @fn final_msg_get_ts()
 *
 * @brief Read a given timestamp value from the final message. In the timestamp fields of the final message, the least
 *        significant byte is at the lower address.
 *
 * @param  ts_field  pointer on the first byte of the timestamp field to read
 *         ts  timestamp value
 *
 * @return none
 */
static void final_msg_get_ts_tag(const uint8 *ts_field, uint32 *ts)
{
    int i;
    *ts = 0;
    for (i = 0; i < FINAL_MSG_TS_LEN; i++)
    {
        *ts += ts_field[i] << (i * 8);
    }
}

/* USER CODE END 4 */

/************************ (C) COPYRIGHT STMicroelectronics *****END OF FILE****/
